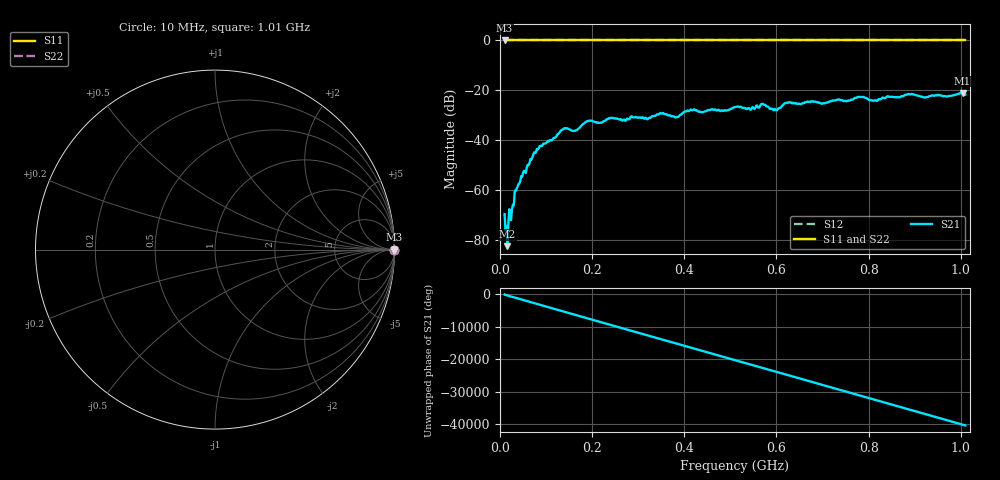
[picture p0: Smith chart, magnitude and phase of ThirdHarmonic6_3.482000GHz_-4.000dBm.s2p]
! 8/17/2025 11:19:30 AM
! C:\ANRITSUVNA\TEMP\TEMP.S2P
! CHANNEL.1
! TR.MEASUREMENT
! RAW.DATA
! RF.CORRECTION.OFF
! AVERAGING.OFF
! IF.BANDWIDTH: 5KHZ
! SWEEPTYPE:  FREQ.SWEEP(Linear)
! Reference Plane Port Info
! PORT:  PORT1  PORT2
! DISTANCE:  0  m  0  m
! TIME:  0  s  0  s
! PHASE.OFFSET:  0  deg.  0  deg.
! LOSS:  0  dB  0  dB
! REF.LOSS:  0  dB  0  dB
! REF.FREQ:  0  Hz  0  Hz
! Power Info
! POWER:  -20  dBm  -20  dBm
! EFF.POWER:  -20  dBm  -20  dBm
! SOURCE.ATTEN:  0  dB  0  dB
! TEST.ATTEN:  0  dB  0  dB
# GHZ S RI R 50.0
! FREQ.GHZ  S11RE  S11IM  S21RE  S21IM  S12RE  S12IM  S22RE  S22IM
!; PortSelection: Port_12
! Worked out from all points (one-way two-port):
!   501 points, 10 MHz to 1.01 GHz, reference 50 ohm
!   highest |S21| = -21.05 dB at 1.004 GHz (marker M1); lowest = -82.3 dB at 16 MHz (marker M2)
!   lowest |S11| = 0.0 dB at 10 MHz (marker M3)
!   |S11| at or under -10 dB: nowhere
!   |S22| runs from 0.0 to 0.0 dB; largest |S21 - S12| = 1.1
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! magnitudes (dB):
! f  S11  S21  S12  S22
! 10 MHz  0.0  -69.5  0.0  0.0
! 14 MHz  0.0  -74.6  0.0  0.0
! 16 MHz  0.0  -82.3  0.0  0.0
! 26 MHz  0.0  -67.5  0.0  0.0
! 36 MHz  0.0  -59.3  0.0  0.0
! 76 MHz  0.0  -45.0  0.0  0.0
! 136 MHz  0.0  -35.7  0.0  0.0
! 162 MHz  0.0  -36.2  0.0  0.0
! 178 MHz  0.0  -33.8  0.0  0.0
! 192 MHz  0.0  -32.2  0.0  0.0
! 322 MHz  0.0  -31.2  0.0  0.0
! 344 MHz  0.0  -29.7  0.0  0.0
! 384 MHz  0.0  -30.6  0.0  0.0
! 418 MHz  0.0  -27.9  0.0  0.0
! 510 MHz  0.0  -26.7  0.0  0.0
! 570 MHz  0.0  -25.4  0.0  0.0
! 598 MHz  0.0  -27.6  0.0  0.0
! 624 MHz  0.0  -25.0  0.0  0.0
! 678 MHz  0.0  -24.4  0.0  0.0
! 844 MHz  0.0  -22.5  0.0  0.0
! 1.004 GHz  0.0  -21.1  0.0  0.0
! 1.01 GHz  0.0  -21.7  0.0  0.0
